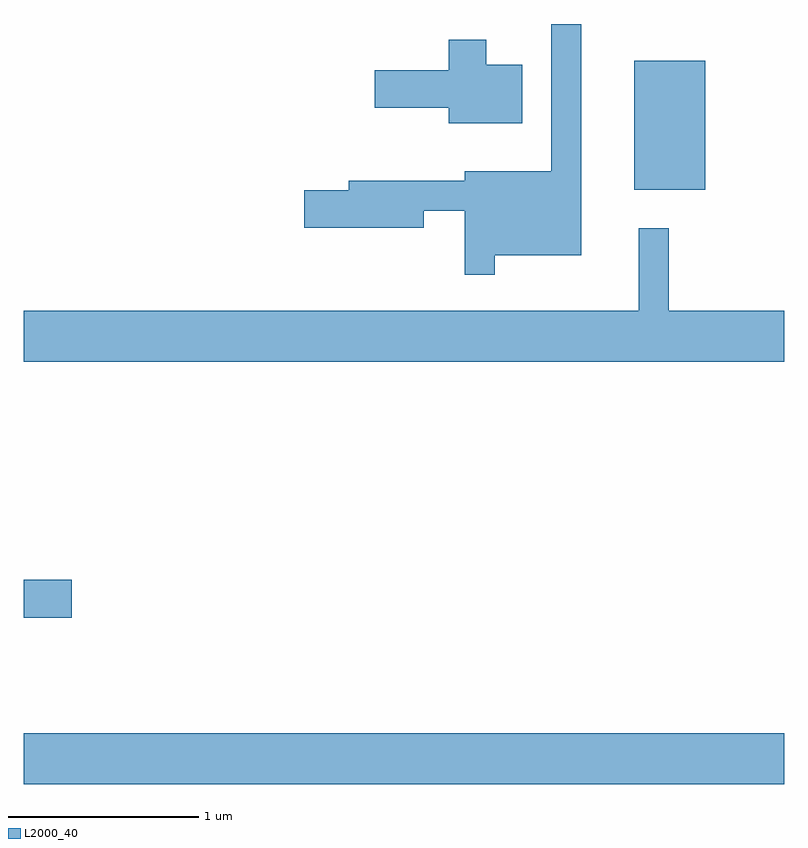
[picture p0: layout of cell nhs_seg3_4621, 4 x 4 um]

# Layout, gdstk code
import gdstk
lib = gdstk.Library(unit=1e-6, precision=1e-09)
def R(c, l, rs):  # rectangles x0, y0, x1, y1
    for r in rs: c.add(gdstk.rectangle(r[:2], r[2:], *l))
def P(c, l, *ps):  # polygons
    for p in ps: c.add(gdstk.Polygon(p, *l))
L2000_40 = (2000, 40)

nhs_seg3_4621 = lib.new_cell('nhs_seg3_4621')
R(nhs_seg3_4621, L2000_40, [(319.611,1245.896,323.611,1246.164), (319.611,1246.771,319.864,1246.969), (322.821,1249.021,323.194,1249.699)])
P(nhs_seg3_4621, L2000_40, [(322.089,1248.676),(322.544,1248.676),(322.544,1249.892),(322.386,1249.892),(322.386,1249.119),(321.931,1249.119),(321.931,1249.069),(321.321,1249.069),(321.321,1249.019),(321.086,1249.019),(321.086,1248.821),(321.714,1248.821),(321.714,1248.911),(321.931,1248.911),(321.931,1248.573),(322.089,1248.573)],
  [(322.234,1249.679),(322.044,1249.679),(322.044,1249.809),(321.846,1249.809),(321.846,1249.649),(321.456,1249.649),(321.456,1249.451),(321.846,1249.451),(321.846,1249.371),(322.234,1249.371)],
  [(323.611,1248.384),(323.004,1248.384),(323.004,1248.818),(322.846,1248.818),(322.846,1248.384),(319.611,1248.384),(319.611,1248.116),(323.611,1248.116)])

lib.write_gds('nhs_seg3_4621.gds')
